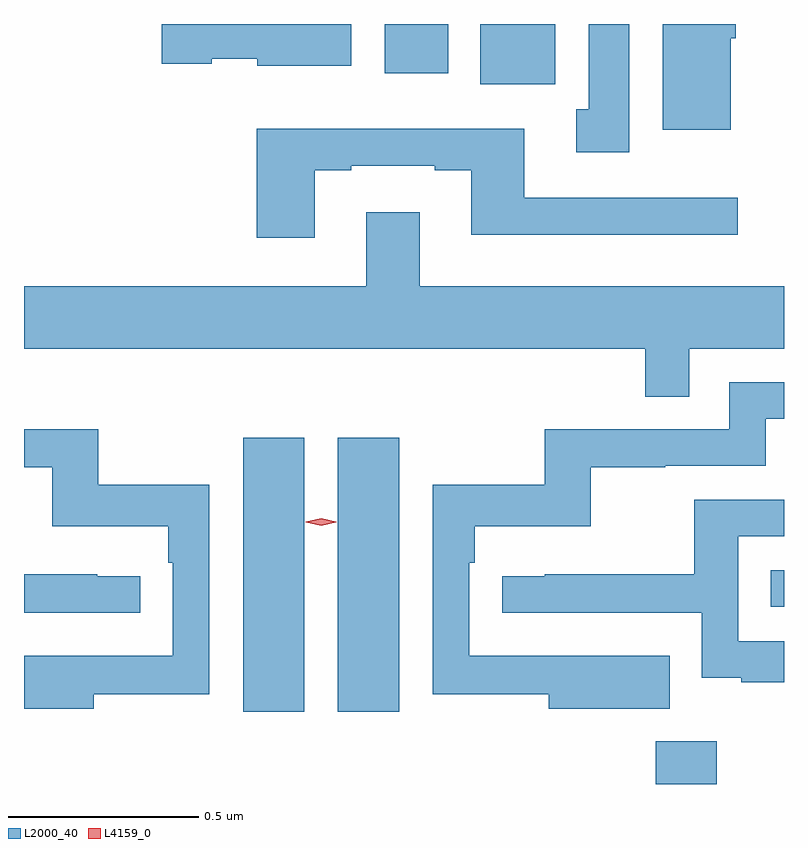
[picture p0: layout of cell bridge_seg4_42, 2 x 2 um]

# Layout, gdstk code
import gdstk
lib = gdstk.Library(unit=1e-6, precision=1e-09)
def R(c, l, rs):  # rectangles x0, y0, x1, y1
    for r in rs: c.add(gdstk.rectangle(r[:2], r[2:], *l))
def P(c, l, *ps):  # polygons
    for p in ps: c.add(gdstk.Polygon(p, *l))
L2000_40 = (2000, 40)
L4159_0 = (4159, 0)

bridge_seg4_42 = lib.new_cell('bridge_seg4_42')
R(bridge_seg4_42, L2000_40, [(882.809,779.69,882.969,779.803), (881.723,779.88,881.884,780.601), (881.972,779.88,882.133,780.601), (883.111,780.156,883.146,780.252), (882.347,781.532,882.544,781.69), (882.095,781.56,882.262,781.69)])
P(bridge_seg4_42, L2000_40, [(882.739,781.69),(882.632,781.69),(882.632,781.466),(882.599,781.466),(882.599,781.353),(882.739,781.353)],
  [(883.006,781.652),(883.019,781.652),(883.019,781.69),(882.827,781.69),(882.827,781.412),(883.006,781.412)],
  [(882.007,781.69),(881.508,781.69),(881.508,781.586),(881.64,781.586),(881.64,781.598),(881.76,781.598),(881.76,781.58),(882.007,781.58)],
  [(881.911,781.305),(882.007,781.305),(882.007,781.317),(882.227,781.317),(882.227,781.305),(882.323,781.305),(882.323,781.136),(883.024,781.136),(883.024,781.233),(882.463,781.233),(882.463,781.414),(881.759,781.414),(881.759,781.128),(881.911,781.128)],
  [(882.897,780.836),(883.146,780.836),(883.146,781),(882.187,781),(882.187,781.195),(882.047,781.195),(882.047,781),(881.146,781),(881.146,780.836),(882.781,780.836),(882.781,780.709),(882.897,780.709)],
  [(882.845,780.028),(882.631,780.028),(882.631,780.027),(882.318,780.027),(882.318,780.272),(882.332,780.272),(882.332,780.368),(882.637,780.368),(882.637,780.523),(882.833,780.523),(882.833,780.528),(883.098,780.528),(883.098,780.651),(883.146,780.651),(883.146,780.747),(883.002,780.747),(883.002,780.624),(882.516,780.624),(882.516,780.478),(882.222,780.478),(882.222,779.926),(882.527,779.926),(882.527,779.888),(882.845,779.888)],
  [(881.329,779.926),(881.634,779.926),(881.634,780.478),(881.341,780.478),(881.341,780.624),(881.146,780.624),(881.146,780.523),(881.22,780.523),(881.22,780.368),(881.525,780.368),(881.525,780.272),(881.538,780.272),(881.538,780.027),(881.225,780.027),(881.225,780.028),(881.146,780.028),(881.146,779.888),(881.329,779.888)],
  [(883.146,780.066),(883.026,780.066),(883.026,780.342),(883.146,780.342),(883.146,780.438),(882.91,780.438),(882.91,780.242),(882.517,780.242),(882.517,780.237),(882.405,780.237),(882.405,780.141),(882.93,780.141),(882.93,779.969),(883.033,779.969),(883.033,779.958),(883.146,779.958)],
  [(881.452,780.237),(881.339,780.237),(881.339,780.242),(881.146,780.242),(881.146,780.141),(881.452,780.141)])
P(bridge_seg4_42, L4159_0, [(881.928,780.37),(881.888,780.379),(881.888,780.38),(881.888,780.38),(881.928,780.39),(881.968,780.38),(881.968,780.38),(881.968,780.379)])

lib.write_gds('bridge_seg4_42.gds')
